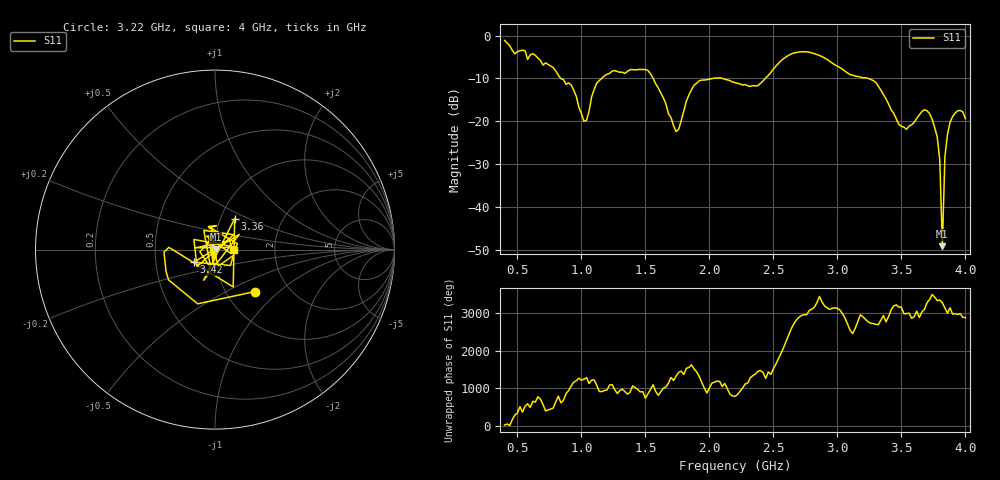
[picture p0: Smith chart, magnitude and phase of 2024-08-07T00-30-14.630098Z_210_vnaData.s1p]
!Created with skrf (http://scikit-rf.org).
# Hz S RI R 50.0
!freq ReS11 ImS11
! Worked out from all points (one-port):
!   181 points, 400 MHz to 4 GHz, reference 50 ohm
!   lowest |S11| = -49.0 dB at 3.82 GHz (marker M1), VSWR 1.01, Z = 50.3 + j0.218 ohm
!   |S11| at or under -10 dB: 838.8 MHz to 1.158 GHz (319.6 MHz wide, 32 % of centre); 1.561 GHz to 2.026 GHz (464.7 MHz wide, 25.9 % of centre); 3.242 GHz to end of sweep (the widest 3 of 4)
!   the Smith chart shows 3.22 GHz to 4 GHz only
!   S11 on the Smith chart (normalised r, x): 3.22 GHz: 1.36, -0.71; 3.36 GHz: 1.16, +0.42; 3.42 GHz: 0.78, -0.11; 4 GHz: 1.24, -0.01
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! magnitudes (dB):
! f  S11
! 400 MHz  -1.1
! 860 MHz  -10.2
! 940 MHz  -12.7
! 1.02 GHz  -20.0
! 1.12 GHz  -11.1
! 1.3 GHz  -8.5
! 1.52 GHz  -8.1
! 1.76 GHz  -21.8
! 1.84 GHz  -13.8
! 1.92 GHz  -10.5
! 2.2 GHz  -11.0
! 2.38 GHz  -11.7
! 2.66 GHz  -4.1
! 2.86 GHz  -4.6
! 3.1 GHz  -9.1
! 3.22 GHz  -9.8
! 3.36 GHz  -13.8
! 3.42 GHz  -17.3
! 3.48 GHz  -20.7
! 3.56 GHz  -21.1
! 3.68 GHz  -17.3
! 3.76 GHz  -21.4
! 3.8 GHz  -29.0
! 3.82 GHz  -49.0
! 3.84 GHz  -28.2
! 3.86 GHz  -23.0
! 3.94 GHz  -17.5
! 4 GHz  -19.3
